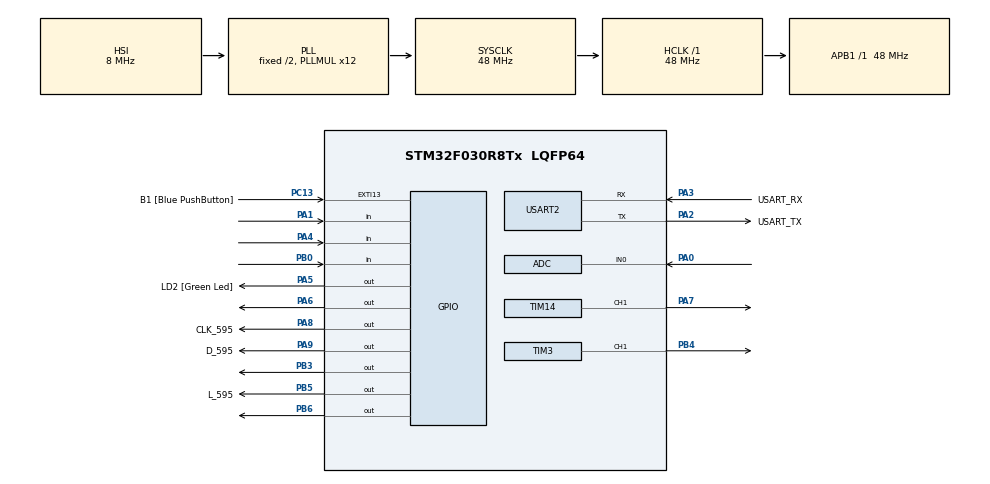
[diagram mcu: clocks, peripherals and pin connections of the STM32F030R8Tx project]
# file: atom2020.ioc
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Mcu.Family=STM32F0
Mcu.Name=STM32F030R8Tx
Mcu.Package=LQFP64
NVIC.TIM14_IRQn=true\:0\:0\:false\:false\:true\:true\:true
NVIC.TIM6_IRQn=true\:0\:0\:false\:false\:true\:true\:true
PA0.Mode=IN0
PA0.Signal=ADC_IN0
PA1.Signal=GPIO_Input
PA13.GPIO_Label=TMS
PA13.Mode=Serial_Wire
PA13.Signal=SYS_SWDIO
PA14.GPIO_Label=TCK
PA14.Mode=Serial_Wire
PA14.Signal=SYS_SWCLK
PA2.GPIO_Label=USART_TX
PA2.GPIO_Mode=GPIO_MODE_AF_PP
PA2.GPIO_PuPd=GPIO_NOPULL
PA2.GPIO_Speed=GPIO_SPEED_FREQ_LOW
PA2.Mode=Asynchronous
PA2.Signal=USART2_TX
PA3.GPIO_Label=USART_RX
PA3.GPIO_Mode=GPIO_MODE_AF_PP
PA3.GPIO_PuPd=GPIO_NOPULL
PA3.GPIO_Speed=GPIO_SPEED_FREQ_LOW
PA3.Mode=Asynchronous
PA3.Signal=USART2_RX
PA4.Signal=GPIO_Input
PA5.GPIO_Label=LD2 [Green Led]
PA5.GPIO_Mode=GPIO_MODE_OUTPUT_PP
PA5.GPIO_ModeDefaultOutputPP=GPIO_MODE_OUTPUT_OD
PA5.GPIO_PuPd=GPIO_NOPULL
PA5.GPIO_Speed=GPIO_SPEED_FREQ_LOW
PA5.Signal=GPIO_Output
PA6.GPIO_ModeDefaultOutputPP=GPIO_MODE_OUTPUT_OD
PA6.Signal=GPIO_Output
PA7.Signal=S_TIM14_CH1
PA8.GPIO_Label=CLK_595
PA8.GPIO_PuPd=GPIO_NOPULL
PA8.Signal=GPIO_Output
PA9.GPIO_Label=D_595
PA9.GPIO_PuPd=GPIO_NOPULL
PA9.Signal=GPIO_Output
PB0.Signal=GPIO_Input
PB3.GPIO_ModeDefaultOutputPP=GPIO_MODE_OUTPUT_OD
PB3.Signal=GPIO_Output
PB4.Signal=S_TIM3_CH1
PB5.GPIO_Label=L_595
PB5.GPIO_PuPd=GPIO_NOPULL
PB5.Signal=GPIO_Output
PB6.GPIO_ModeDefaultOutputPP=GPIO_MODE_OUTPUT_OD
PB6.Signal=GPIO_Output
PC13.GPIO_Label=B1 [Blue PushButton]
PC13.GPIO_ModeDefaultEXTI=GPIO_MODE_IT_FALLING
PC13.Signal=GPXTI13
PC14-OSC32_IN.Mode=LSE-External-Oscillator
PC14-OSC32_IN.Signal=RCC_OSC32_IN
PC15-OSC32_OUT.Mode=LSE-External-Oscillator
PC15-OSC32_OUT.Signal=RCC_OSC32_OUT
PF0-OSC_IN.Mode=HSE-External-Clock-Source
PF0-OSC_IN.Signal=RCC_OSC_IN
PF1-OSC_OUT.Signal=RCC_OSC_OUT
ProjectManager.HeapSize=0x200
ProjectManager.StackSize=0x400
ProjectManager.TargetToolchain=TrueSTUDIO
RCC.AHBFreq_Value=48000000
RCC.APB1Freq_Value=48000000
RCC.APB1TimFreq_Value=48000000
RCC.HCLKFreq_Value=48000000
RCC.PLLMUL=RCC_PLL_MUL12
RCC.SYSCLKFreq_VALUE=48000000
RCC.SYSCLKSource=RCC_SYSCLKSOURCE_PLLCLK
SH.S_TIM14_CH1.0=TIM14_CH1,PWM Generation1 CH1
SH.S_TIM3_CH1.0=TIM3_CH1,PWM Generation1 CH1
TIM14.Channel=TIM_CHANNEL_1
TIM14.Period=65535
TIM3.Channel-PWM\ Generation1\ CH1=TIM_CHANNEL_1
TIM6.Period=1
TIM6.Prescaler=47999
USART2.VirtualMode-Asynchronous=VM_ASYNC
VP_TIM14_VS_ClockSourceINT.Mode=Enable_Timer
VP_TIM3_VS_ClockSourceINT.Mode=Internal
VP_TIM6_VS_ClockSourceINT.Mode=Enable_Timer
board=NUCLEO-F030R8

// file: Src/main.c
/* USER CODE BEGIN Header */
/**
  ******************************************************************************
  * @file           : main.c
  * @brief          : Main program body
  ******************************************************************************
  * @attention
  *
  * <h2><center>&copy; Copyright (c) 2020 STMicroelectronics.
  * All rights reserved.</center></h2>
  *
  * This software component is licensed by ST under BSD 3-Clause license,
  * the "License"; You may not use this file except in compliance with the
  * License. You may obtain a copy of the License at:
  *                        opensource.org/licenses/BSD-3-Clause
  *
  ******************************************************************************
  */
/* USER CODE END Header */

#include "main.h"

/* USER CODE BEGIN Includes */
//#include <QuardDisplay.h>
#include "seg.h"
/* USER CODE END Includes */

ADC_HandleTypeDef hadc;

TIM_HandleTypeDef htim3;
TIM_HandleTypeDef htim6;
TIM_HandleTypeDef htim14;

UART_HandleTypeDef huart2;

void SystemClock_Config(void);
static void MX_GPIO_Init(void);
static void MX_USART2_UART_Init(void);
static void MX_TIM3_Init(void);
static void MX_ADC_Init(void);
static void MX_TIM6_Init(void);
static void MX_TIM14_Init(void);

/* USER CODE BEGIN 0 */
uint8_t str[50] = {0};
uint16_t adc = 0;
uint8_t st[50] = "tyuttuytuyt";
/* USER CODE END 0 */

int main(void)
{

  /* MCU Configuration--------------------------------------------------------*/

  /* Reset of all peripherals, Initializes the Flash interface and the Systick. */
  HAL_Init();

  /* Configure the system clock */
  SystemClock_Config();

  /* Initialize all configured peripherals */
  MX_GPIO_Init();
  MX_USART2_UART_Init();
  MX_TIM3_Init();
  MX_ADC_Init();
  MX_TIM6_Init();
  MX_TIM14_Init();
  /* USER CODE BEGIN 2 */
  HAL_TIM_Base_Start_IT(&htim6);
  HAL_TIM_PWM_Start(&htim14, TIM_CHANNEL_1);
  //Shift(1234, 4);

  HAL_ADCEx_Calibration_Start(&hadc);
  printf("Start system\r\n");
  HAL_GPIO_WritePin(GPIOB, GPIO_PIN_3, GPIO_PIN_RESET);
  HAL_Delay(150);
  HAL_GPIO_WritePin(GPIOB, GPIO_PIN_3, GPIO_PIN_SET);
  //DisplaySNumber("1234");

  /* USER CODE END 2 */

  /* Infinite loop */
  /* USER CODE BEGIN WHILE */
  while (1)
  {

	  HAL_ADC_Start(&hadc);
	  HAL_ADC_PollForConversion(&hadc, 100);
	  adc = HAL_ADC_GetValue(&hadc);
	  HAL_ADC_Stop(&hadc);
	  TIM14->CCR1 = 65535-(adc*16);
	  sprintf(str,"%d\r\n",adc);
	  printf(str);
	  if(adc>=2000){
		  HAL_GPIO_WritePin(GPIOA, GPIO_PIN_5, GPIO_PIN_SET);
		  HAL_GPIO_WritePin(GPIOA, GPIO_PIN_6, GPIO_PIN_RESET);
	  }else{
		  HAL_GPIO_WritePin(GPIOA, GPIO_PIN_6, GPIO_PIN_SET);
		  HAL_GPIO_WritePin(GPIOA, GPIO_PIN_5, GPIO_PIN_RESET);
	  }
	  if(!HAL_GPIO_ReadPin(GPIOA, GPIO_PIN_1)){
		  HAL_GPIO_WritePin(GPIOB, GPIO_PIN_3, GPIO_PIN_RESET);
		  HAL_Delay(150);
		  HAL_GPIO_WritePin(GPIOB, GPIO_PIN_3, GPIO_PIN_SET);
	  }
	  if(!HAL_GPIO_ReadPin(GPIOA, GPIO_PIN_4)){
		  HAL_GPIO_WritePin(GPIOB, GPIO_PIN_3, GPIO_PIN_RESET);
		  HAL_Delay(150);
		  HAL_GPIO_WritePin(GPIOB, GPIO_PIN_3, GPIO_PIN_SET);
	  }
	  if(!HAL_GPIO_ReadPin(GPIOB, GPIO_PIN_0)){
		  HAL_GPIO_WritePin(GPIOB, GPIO_PIN_3, GPIO_PIN_RESET);
		  HAL_Delay(150);
		  HAL_GPIO_WritePin(GPIOB, GPIO_PIN_3, GPIO_PIN_SET);
	  }
	  HAL_Delay(1000);

    /* USER CODE END WHILE */

  }
}

void SystemClock_Config(void)
{
  RCC_OscInitTypeDef RCC_OscInitStruct = {0};
  RCC_ClkInitTypeDef RCC_ClkInitStruct = {0};

  /** Initializes the CPU, AHB and APB busses clocks
  */
  RCC_OscInitStruct.OscillatorType = RCC_OSCILLATORTYPE_HSI|RCC_OSCILLATORTYPE_HSI14;
  RCC_OscInitStruct.HSIState = RCC_HSI_ON;
  RCC_OscInitStruct.HSI14State = RCC_HSI14_ON;
  RCC_OscInitStruct.HSICalibrationValue = RCC_HSICALIBRATION_DEFAULT;
  RCC_OscInitStruct.HSI14CalibrationValue = 16;
  RCC_OscInitStruct.PLL.PLLState = RCC_PLL_ON;
  RCC_OscInitStruct.PLL.PLLSource = RCC_PLLSOURCE_HSI;
  RCC_OscInitStruct.PLL.PLLMUL = RCC_PLL_MUL12;
  RCC_OscInitStruct.PLL.PREDIV = RCC_PREDIV_DIV1;
  if (HAL_RCC_OscConfig(&RCC_OscInitStruct) != HAL_OK)
  {
    Error_Handler();
  }
  /** Initializes the CPU, AHB and APB busses clocks
  */
  RCC_ClkInitStruct.ClockType = RCC_CLOCKTYPE_HCLK|RCC_CLOCKTYPE_SYSCLK
                              |RCC_CLOCKTYPE_PCLK1;
  RCC_ClkInitStruct.SYSCLKSource = RCC_SYSCLKSOURCE_PLLCLK;
  RCC_ClkInitStruct.AHBCLKDivider = RCC_SYSCLK_DIV1;
  RCC_ClkInitStruct.APB1CLKDivider = RCC_HCLK_DIV1;

  if (HAL_RCC_ClockConfig(&RCC_ClkInitStruct, FLASH_LATENCY_1) != HAL_OK)
  {
    Error_Handler();
  }
}

static void MX_ADC_Init(void)
{

  ADC_ChannelConfTypeDef sConfig = {0};

  /** Configure the global features of the ADC (Clock, Resolution, Data Alignment and number of conversion)
  */
  hadc.Instance = ADC1;
  hadc.Init.ClockPrescaler = ADC_CLOCK_ASYNC_DIV1;
  hadc.Init.Resolution = ADC_RESOLUTION_12B;
  hadc.Init.DataAlign = ADC_DATAALIGN_RIGHT;
  hadc.Init.ScanConvMode = ADC_SCAN_DIRECTION_FORWARD;
  hadc.Init.EOCSelection = ADC_EOC_SINGLE_CONV;
  hadc.Init.LowPowerAutoWait = DISABLE;
  hadc.Init.LowPowerAutoPowerOff = DISABLE;
  hadc.Init.ContinuousConvMode = DISABLE;
  hadc.Init.DiscontinuousConvMode = DISABLE;
  hadc.Init.ExternalTrigConv = ADC_SOFTWARE_START;
  hadc.Init.ExternalTrigConvEdge = ADC_EXTERNALTRIGCONVEDGE_NONE;
  hadc.Init.DMAContinuousRequests = DISABLE;
  hadc.Init.Overrun = ADC_OVR_DATA_PRESERVED;
  if (HAL_ADC_Init(&hadc) != HAL_OK)
  {
    Error_Handler();
  }
  /** Configure for the selected ADC regular channel to be converted.
  */
  sConfig.Channel = ADC_CHANNEL_0;
  sConfig.Rank = ADC_RANK_CHANNEL_NUMBER;
  sConfig.SamplingTime = ADC_SAMPLETIME_1CYCLE_5;
  if (HAL_ADC_ConfigChannel(&hadc, &sConfig) != HAL_OK)
  {
    Error_Handler();
  }

}

static void MX_TIM3_Init(void)
{

  TIM_ClockConfigTypeDef sClockSourceConfig = {0};
  TIM_MasterConfigTypeDef sMasterConfig = {0};
  TIM_OC_InitTypeDef sConfigOC = {0};

  htim3.Instance = TIM3;
  htim3.Init.Prescaler = 0;
  htim3.Init.CounterMode = TIM_COUNTERMODE_UP;
  htim3.Init.Period = 0;
  htim3.Init.ClockDivision = TIM_CLOCKDIVISION_DIV1;
  htim3.Init.AutoReloadPreload = TIM_AUTORELOAD_PRELOAD_DISABLE;
  if (HAL_TIM_Base_Init(&htim3) != HAL_OK)
  {
    Error_Handler();
  }
  sClockSourceConfig.ClockSource = TIM_CLOCKSOURCE_INTERNAL;
  if (HAL_TIM_ConfigClockSource(&htim3, &sClockSourceConfig) != HAL_OK)
  {
    Error_Handler();
  }
  if (HAL_TIM_PWM_Init(&htim3) != HAL_OK)
  {
    Error_Handler();
  }
  sMasterConfig.MasterOutputTrigger = TIM_TRGO_RESET;
  sMasterConfig.MasterSlaveMode = TIM_MASTERSLAVEMODE_DISABLE;
  if (HAL_TIMEx_MasterConfigSynchronization(&htim3, &sMasterConfig) != HAL_OK)
  {
    Error_Handler();
  }
  sConfigOC.OCMode = TIM_OCMODE_PWM1;
  sConfigOC.Pulse = 0;
  sConfigOC.OCPolarity = TIM_OCPOLARITY_HIGH;
  sConfigOC.OCFastMode = TIM_OCFAST_DISABLE;
  if (HAL_TIM_PWM_ConfigChannel(&htim3, &sConfigOC, TIM_CHANNEL_1) != HAL_OK)
  {
    Error_Handler();
  }
  HAL_TIM_MspPostInit(&htim3);

}

static void MX_TIM6_Init(void)
{

  htim6.Instance = TIM6;
  htim6.Init.Prescaler = 47999;
  htim6.Init.CounterMode = TIM_COUNTERMODE_UP;
  htim6.Init.Period = 1;
  htim6.Init.AutoReloadPreload = TIM_AUTORELOAD_PRELOAD_DISABLE;
  if (HAL_TIM_Base_Init(&htim6) != HAL_OK)
  {
    Error_Handler();
  }

}

static void MX_TIM14_Init(void)
{

  TIM_OC_InitTypeDef sConfigOC = {0};

  htim14.Instance = TIM14;
  htim14.Init.Prescaler = 0;
  htim14.Init.CounterMode = TIM_COUNTERMODE_UP;
  htim14.Init.Period = 65535;
  htim14.Init.ClockDivision = TIM_CLOCKDIVISION_DIV1;
  htim14.Init.AutoReloadPreload = TIM_AUTORELOAD_PRELOAD_DISABLE;
  if (HAL_TIM_Base_Init(&htim14) != HAL_OK)
  {
    Error_Handler();
  }
  if (HAL_TIM_PWM_Init(&htim14) != HAL_OK)
  {
    Error_Handler();
  }
  sConfigOC.OCMode = TIM_OCMODE_PWM1;
  sConfigOC.Pulse = 0;
  sConfigOC.OCPolarity = TIM_OCPOLARITY_HIGH;
  sConfigOC.OCFastMode = TIM_OCFAST_DISABLE;
  if (HAL_TIM_PWM_ConfigChannel(&htim14, &sConfigOC, TIM_CHANNEL_1) != HAL_OK)
  {
    Error_Handler();
  }
  HAL_TIM_MspPostInit(&htim14);

}

static void MX_USART2_UART_Init(void)
{

  huart2.Instance = USART2;
  huart2.Init.BaudRate = 38400;
  huart2.Init.WordLength = UART_WORDLENGTH_8B;
  huart2.Init.StopBits = UART_STOPBITS_1;
  huart2.Init.Parity = UART_PARITY_NONE;
  huart2.Init.Mode = UART_MODE_TX_RX;
  huart2.Init.HwFlowCtl = UART_HWCONTROL_NONE;
  huart2.Init.OverSampling = UART_OVERSAMPLING_16;
  huart2.Init.OneBitSampling = UART_ONE_BIT_SAMPLE_DISABLE;
  huart2.AdvancedInit.AdvFeatureInit = UART_ADVFEATURE_NO_INIT;
  if (HAL_UART_Init(&huart2) != HAL_OK)
  {
    Error_Handler();
  }

}

static void MX_GPIO_Init(void)
{
  GPIO_InitTypeDef GPIO_InitStruct = {0};

  /* GPIO Ports Clock Enable */
  __HAL_RCC_GPIOC_CLK_ENABLE();
  __HAL_RCC_GPIOF_CLK_ENABLE();
  __HAL_RCC_GPIOA_CLK_ENABLE();
  __HAL_RCC_GPIOB_CLK_ENABLE();

  /*Configure GPIO pin Output Level */
  HAL_GPIO_WritePin(GPIOA, LD2_Pin|GPIO_PIN_6|CLK_595_Pin|D_595_Pin, GPIO_PIN_RESET);

  /*Configure GPIO pin Output Level */
  HAL_GPIO_WritePin(GPIOB, GPIO_PIN_3|L_595_Pin|GPIO_PIN_6, GPIO_PIN_RESET);

  /*Configure GPIO pin : B1_Pin */
  GPIO_InitStruct.Pin = B1_Pin;
  GPIO_InitStruct.Mode = GPIO_MODE_IT_FALLING;
  GPIO_InitStruct.Pull = GPIO_NOPULL;
  HAL_GPIO_Init(B1_GPIO_Port, &GPIO_InitStruct);

  /*Configure GPIO pins : PA1 PA4 */
  GPIO_InitStruct.Pin = GPIO_PIN_1|GPIO_PIN_4;
  GPIO_InitStruct.Mode = GPIO_MODE_INPUT;
  GPIO_InitStruct.Pull = GPIO_NOPULL;
  HAL_GPIO_Init(GPIOA, &GPIO_InitStruct);

  /*Configure GPIO pins : LD2_Pin PA6 */
  GPIO_InitStruct.Pin = LD2_Pin|GPIO_PIN_6;
  GPIO_InitStruct.Mode = GPIO_MODE_OUTPUT_OD;
  GPIO_InitStruct.Pull = GPIO_NOPULL;
  GPIO_InitStruct.Speed = GPIO_SPEED_FREQ_LOW;
  HAL_GPIO_Init(GPIOA, &GPIO_InitStruct);

  /*Configure GPIO pin : PB0 */
  GPIO_InitStruct.Pin = GPIO_PIN_0;
  GPIO_InitStruct.Mode = GPIO_MODE_INPUT;
  GPIO_InitStruct.Pull = GPIO_NOPULL;
  HAL_GPIO_Init(GPIOB, &GPIO_InitStruct);

  /*Configure GPIO pins : CLK_595_Pin D_595_Pin */
  GPIO_InitStruct.Pin = CLK_595_Pin|D_595_Pin;
  GPIO_InitStruct.Mode = GPIO_MODE_OUTPUT_PP;
  GPIO_InitStruct.Pull = GPIO_NOPULL;
  GPIO_InitStruct.Speed = GPIO_SPEED_FREQ_LOW;
  HAL_GPIO_Init(GPIOA, &GPIO_InitStruct);

  /*Configure GPIO pins : PB3 PB6 */
  GPIO_InitStruct.Pin = GPIO_PIN_3|GPIO_PIN_6;
  GPIO_InitStruct.Mode = GPIO_MODE_OUTPUT_OD;
  GPIO_InitStruct.Pull = GPIO_NOPULL;
  GPIO_InitStruct.Speed = GPIO_SPEED_FREQ_LOW;
  HAL_GPIO_Init(GPIOB, &GPIO_InitStruct);

  /*Configure GPIO pin : L_595_Pin */
  GPIO_InitStruct.Pin = L_595_Pin;
  GPIO_InitStruct.Mode = GPIO_MODE_OUTPUT_PP;
  GPIO_InitStruct.Pull = GPIO_NOPULL;
  GPIO_InitStruct.Speed = GPIO_SPEED_FREQ_LOW;
  HAL_GPIO_Init(L_595_GPIO_Port, &GPIO_InitStruct);

}

/* USER CODE BEGIN 4 */
int __io_putchar(int ch){
	 HAL_UART_Transmit(&huart2, (uint8_t *)&ch, 1, 0xFFFF);
	return ch;
}
/* USER CODE END 4 */

void Error_Handler(void)
{
}

/************************ (C) COPYRIGHT STMicroelectronics *****END OF FILE****/
